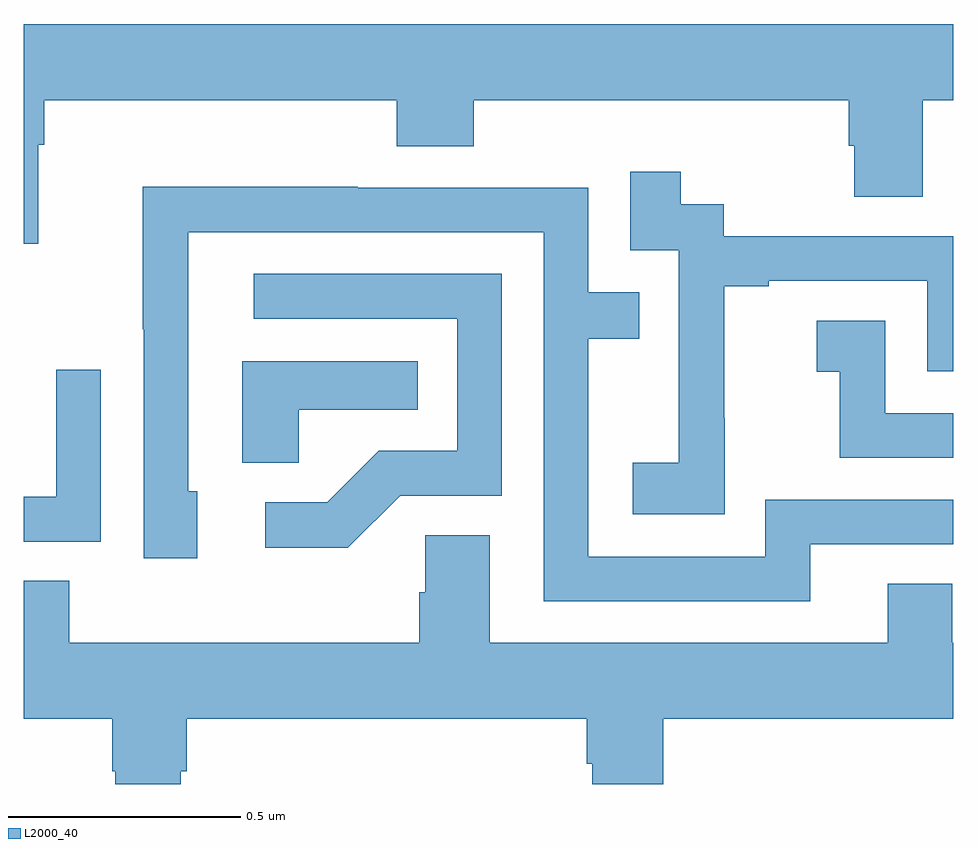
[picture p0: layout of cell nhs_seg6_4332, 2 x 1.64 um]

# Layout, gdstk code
import gdstk
lib = gdstk.Library(unit=1e-6, precision=1e-09)
def P(c, l, *ps):  # polygons
    for p in ps: c.add(gdstk.Polygon(p, *l))
L2000_40 = (2000, 40)

nhs_seg6_4332 = lib.new_cell('nhs_seg6_4332')
P(nhs_seg6_4332, L2000_40, [(168.031,977.876),(168.044,977.876),(168.044,977.972),(168.803,977.972),(168.803,977.873),(168.968,977.873),(168.968,977.972),(169.775,977.972),(169.775,977.874),(169.787,977.874),(169.787,977.764),(169.935,977.764),(169.935,977.972),(170,977.972),(170,978.136),(168,978.136),(168,977.663),(168.031,977.663)],
  [(169.509,977.287),(169.508,977.287),(169.508,977.571),(169.603,977.571),(169.603,977.583),(169.944,977.583),(169.944,977.388),(170,977.388),(170,977.679),(169.506,977.679),(169.506,977.748),(169.414,977.748),(169.414,977.818),(169.305,977.818),(169.305,977.649),(169.41,977.649),(169.41,977.42),(169.409,977.42),(169.409,977.191),(169.311,977.191),(169.311,977.081),(169.509,977.081)],
  [(169.693,977.016),(170,977.016),(170,977.112),(169.596,977.112),(169.596,976.989),(169.215,976.989),(169.215,977.458),(169.325,977.458),(169.325,977.559),(169.215,977.559),(169.215,977.784),(168.719,977.784),(168.719,977.786),(168.256,977.786),(168.256,977.479),(168.258,977.479),(168.258,976.986),(168.373,976.986),(168.373,977.13),(168.354,977.13),(168.354,977.688),(169.119,977.688),(169.119,976.893),(169.693,976.893)],
  [(168.81,977.121),(169.029,977.121),(169.029,977.598),(168.495,977.598),(168.495,977.502),(168.933,977.502),(168.933,977.217),(168.764,977.217),(168.653,977.106),(168.519,977.106),(168.519,977.009),(168.697,977.009)],
  [(170,977.298),(169.854,977.298),(169.854,977.497),(169.707,977.497),(169.707,977.387),(169.756,977.387),(169.756,977.202),(170,977.202)],
  [(168.591,977.306),(168.848,977.306),(168.848,977.41),(168.47,977.41),(168.47,977.191),(168.591,977.191)],
  [(168.165,977.392),(168.069,977.392),(168.069,977.118),(168,977.118),(168,977.022),(168.165,977.022)],
  [(168.337,976.527),(168.35,976.527),(168.35,976.64),(169.211,976.64),(169.211,976.544),(169.223,976.544),(169.223,976.5),(169.376,976.5),(169.376,976.64),(170,976.64),(170,976.804),(169.998,976.804),(169.998,976.931),(169.859,976.931),(169.859,976.804),(169.003,976.804),(169.003,977.036),(168.864,977.036),(168.864,976.913),(168.851,976.913),(168.851,976.804),(168.098,976.804),(168.098,976.937),(168,976.937),(168,976.64),(168.19,976.64),(168.19,976.527),(168.197,976.527),(168.197,976.5),(168.337,976.5)])

lib.write_gds('nhs_seg6_4332.gds')
